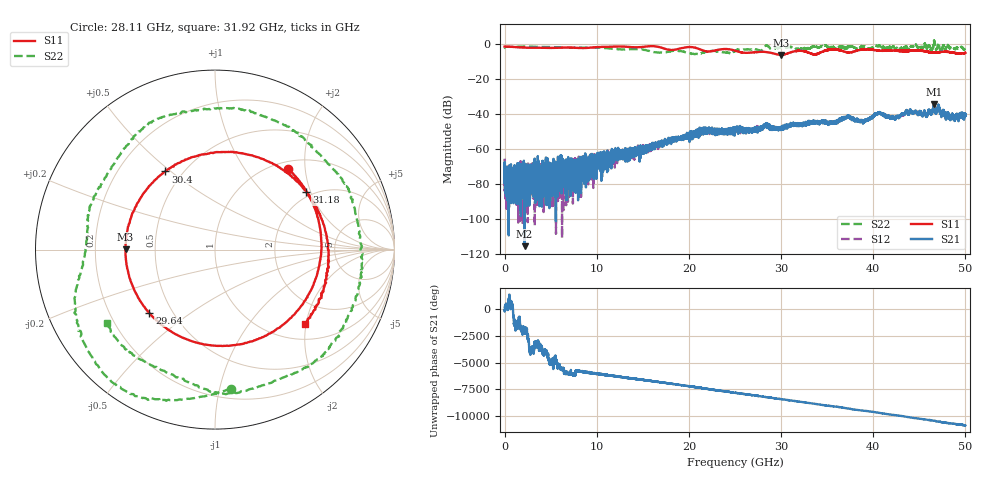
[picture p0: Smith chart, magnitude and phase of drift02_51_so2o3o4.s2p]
!Created with skrf (http://scikit-rf.org).
# Hz S RI R 50.0
!freq ReS11 ImS11 ReS21 ImS21 ReS12 ImS12 ReS22 ImS22
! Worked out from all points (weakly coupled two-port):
!   10001 points, 300 kHz to 50 GHz, reference 50 ohm
!   highest |S21| = -34.38 dB at 46.6 GHz (marker M1); lowest = -115.8 dB at 2.17 GHz (marker M2)
!   lowest |S11| = -6.1 dB at 29.97 GHz (marker M3), VSWR 2.98, Z = 16.8 + j0.0562 ohm
!   |S11| at or under -10 dB: nowhere
!   |S22| runs from -5.7 to 2.2 dB; largest |S21 - S12| = 0.0044
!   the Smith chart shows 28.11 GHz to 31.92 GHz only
!   S11 on the Smith chart (normalised r, x): 28.11 GHz: 1.15, +1.63; 29.64 GHz: 0.37, -0.36; 30.4 GHz: 0.40, +0.48; 31.18 GHz: 1.85, +1.87; 31.92 GHz: 1.37, -1.96
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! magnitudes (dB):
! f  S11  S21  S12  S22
! 300 kHz  -1.3  -68.0  -65.6  -2.1
! 255.3 MHz  -1.4  -85.1  -76.2  -1.4
! 2.17 GHz  -1.9  -115.8  -82.4  -1.3
! 3.99 GHz  -2.0  -80.6  -75.5  -1.6
! 8.335 GHz  -2.2  -64.9  -67.9  -1.9
! 16.67 GHz  -1.5  -56.7  -57.5  -4.7
! 21.51 GHz  -3.5  -50.5  -50.1  -4.7
! 25 GHz  -3.7  -49.4  -49.8  -3.9
! 28.11 GHz  -4.3  -47.6  -47.7  -2.2
! 29.64 GHz  -5.9  -47.8  -48.6  -2.2
! 29.97 GHz  -6.1  -48.8  -49.2  -2.0
! 30.4 GHz  -5.7  -47.7  -47.0  -1.8
! 31.18 GHz  -4.4  -45.7  -46.7  -1.7
! 31.92 GHz  -3.8  -45.8  -46.1  -2.8
! 33.34 GHz  -5.5  -44.5  -45.1  -1.6
! 37.3 GHz  -4.7  -41.4  -41.4  -1.3
! 38.91 GHz  -3.0  -43.9  -44.8  -1.4
! 40.67 GHz  -3.7  -38.9  -39.4  -0.8
! 41.67 GHz  -3.6  -41.3  -41.1  -1.9
! 46.6 GHz  -4.7  -34.4  -34.9  2.0
! 48.56 GHz  -4.7  -41.3  -40.7  -1.6
! 50 GHz  -5.0  -41.0  -39.8  -2.7
